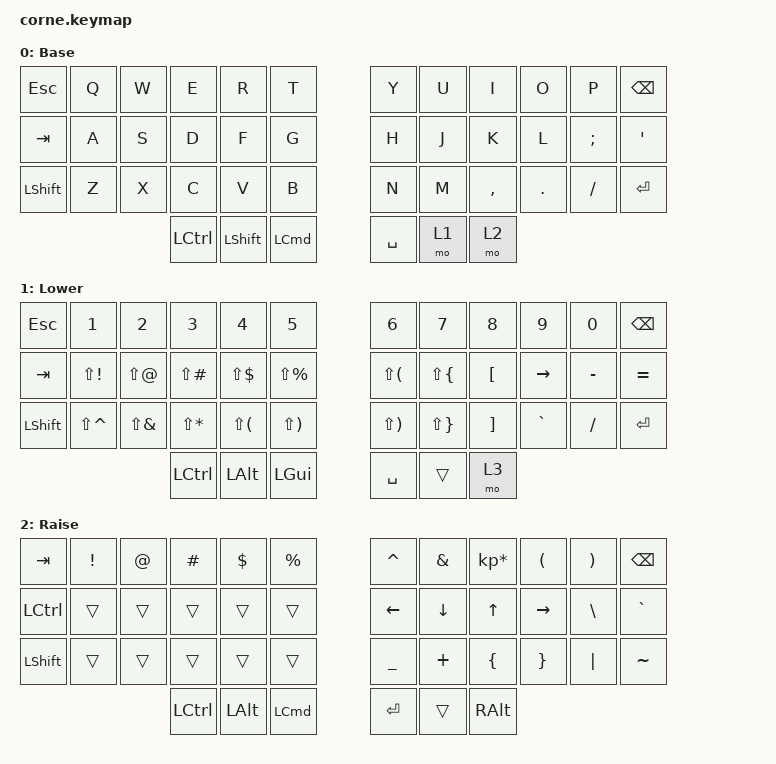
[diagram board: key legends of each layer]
/*
 * Copyright (c) 2020 The ZMK Contributors
 *
 * SPDX-License-Identifier: MIT
 */

#include <behaviors.dtsi>
#include <dt-bindings/zmk/keys.h>

/ {
    keymap {
        compatible = "zmk,keymap";

        default_layer {
            // -----------------------------------------------------------------------------------------
            // |  TAB |  Q  |  W  |  E  |  R  |  T  |   |  Y  |  U   |  I  |  O  |  P  | BKSP |
            // | CTRL |  A  |  S  |  D  |  F  |  G  |   |  H  |  J   |  K  |  L  |  ;  |  '   |
            // | SHFT |  Z  |  X  |  C  |  V  |  B  |   |  N  |  M   |  ,  |  .  |  /  | ESC  |
            //                    | GUI | LWR | SPC |   | ENT | RSE  | ALT |

            display-name = "Base";
            bindings = <
&kp ESCAPE  &kp Q  &kp W  &kp E      &kp R           &kp T       &kp Y      &kp U  &kp I      &kp O    &kp P     &kp BSPC
&kp TAB     &kp A  &kp S  &kp D      &kp F           &kp G       &kp H      &kp J  &kp K      &kp L    &kp SEMI  &kp APOSTROPHE
&kp LSHFT   &kp Z  &kp X  &kp C      &kp V           &kp B       &kp N      &kp M  &kp COMMA  &kp DOT  &kp FSLH  &kp ENTER
                          &kp LCTRL  &kp LEFT_SHIFT  &kp LCMD    &kp SPACE  &mo 1  &mo 2
            >;
        };

        lower_layer {
            // -----------------------------------------------------------------------------------------
            // |  TAB |  1  |  2  |  3  |  4  |  5  |   |  6  |  7  |  8  |  9  |  0  | BKSP |
            // | BTCLR| BT1 | BT2 | BT3 | BT4 | BT5 |   | LFT | DWN |  UP | RGT |     |      |
            // | SHFT |     |     |     |     |     |   |     |     |     |     |     |      |
            //                    | GUI |     | SPC |   | ENT |     | ALT |

            display-name = "Lower";
            bindings = <
&kp ESC    &kp N1         &kp N2        &kp N3         &kp N4        &kp N5           &kp N6        &kp N7        &kp N8    &kp N9     &kp N0     &kp BSPC
&kp TAB    &kp LS(EXCL)   &kp LS(AT)    &kp LS(POUND)  &kp LS(DLLR)  &kp LS(PRCNT)    &kp LS(LPAR)  &kp LS(LBRC)  &kp LBKT  &kp RIGHT  &kp MINUS  &kp EQUAL
&kp LSHFT  &kp LS(CARET)  &kp LS(AMPS)  &kp LS(STAR)   &kp LS(LPAR)  &kp LS(RPAR)     &kp LS(RPAR)  &kp LS(RBRC)  &kp RBKT  &kp GRAVE  &kp FSLH   &kp RET
                                        &kp LCTRL      &kp LALT      &kp LGUI         &kp SPACE     &trans        &mo 3
            >;
        };

        raise_layer {
            // -----------------------------------------------------------------------------------------
            // |  TAB |  !  |  @  |  #  |  $  |  %  |   |  ^  |  &  |  *  |  (  |  )  | BKSP |
            // | CTRL |     |     |     |     |     |   |  -  |  =  |  [  |  ]  |  \  |  `   |
            // | SHFT |     |     |     |     |     |   |  _  |  +  |  {  |  }  | "|" |  ~   |
            //                    | GUI |     | SPC |   | ENT |     | ALT |

            display-name = "Raise";
            bindings = <
&kp TAB    &kp EXCL  &kp AT  &kp HASH   &kp DLLR  &kp PRCNT    &kp CARET  &kp AMPS  &kp KP_MULTIPLY  &kp LPAR   &kp RPAR  &kp BSPC
&kp LCTRL  &trans    &trans  &trans     &trans    &trans       &kp LEFT   &kp DOWN  &kp UP           &kp RIGHT  &kp BSLH  &kp GRAVE
&kp LSHFT  &trans    &trans  &trans     &trans    &trans       &kp UNDER  &kp PLUS  &kp LBRC         &kp RBRC   &kp PIPE  &kp TILDE
                             &kp LCTRL  &kp LALT  &kp LCMD     &kp RET    &trans    &kp RALT
            >;
        };

        extra_1 { status = "reserved"; };

        extra_2 { status = "reserved"; };

        extra_3 { status = "reserved"; };
    };
};
